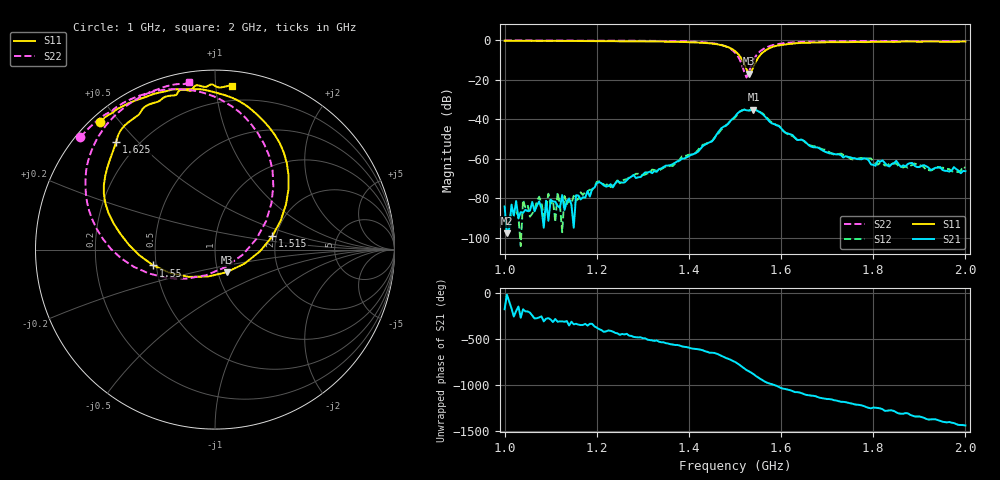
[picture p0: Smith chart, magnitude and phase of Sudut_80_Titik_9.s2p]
# Hz S RI R 50
! CMT, C1220, 16058040, 17.2.0/1
! Date: 14/08/2018 11:55:20
! Data: Format (Calibration Info)
! Freq  S11: Re/Im (F2)  S21: Re/Im (F2)  S12: Re/Im (F2)  S22: Re/Im (F2)
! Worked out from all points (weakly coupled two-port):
!   201 points, 1 GHz to 2 GHz, reference 50 ohm
!   highest |S21| = -35.08 dB at 1.54 GHz (marker M1); lowest = -97.6 dB at 1.005 GHz (marker M2)
!   lowest |S11| = -17.0 dB at 1.53 GHz (marker M3), VSWR 1.33, Z = 55.1 - j14.2 ohm
!   |S11| at or under -10 dB: 1.516 GHz to 1.548 GHz (31.84 MHz wide, 2.08 % of centre)
!   |S22| runs from -18.9 to -0.2 dB; largest |S21 - S12| = 0.00076
!   S11 on the Smith chart (normalised r, x): 1 GHz: 0.03, +0.44; 1.515 GHz: 1.90, +0.32; 1.55 GHz: 0.48, -0.10; 1.625 GHz: 0.12, +0.43; 2 GHz: 0.10, +1.10
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1e9  -0.6433 0.7109  -6.27e-05 -5.04e-07  -2.46e-05 -6.15e-06  -0.7502 0.6268
1.005e9  -0.6362 0.7157  1.24e-05 -4.6e-06  -1.81e-05 1.92e-05  -0.7465 0.6309
1.17e9  -0.4713 0.8198  0.000105 2.03e-05  0.000115 -4.19e-05  -0.6125 0.7519
1.18e9  -0.4547 0.8267  0.000153 1.06e-05  0.000151 1.31e-05  -0.6012 0.7583
1.185e9  -0.4464 0.8301  0.000102 4.41e-05  0.000158 4.81e-05  -0.5953 0.7613
1.205e9  -0.4247 0.8372  0.000213 -0.000147  0.000202 -0.000182  -0.5761 0.7661
1.235e9  -0.3813 0.8521  9.2e-05 -0.000167  7.19e-05 -0.000201  -0.5509 0.7929
1.335e9  -0.214 0.8931  -0.000543 -9.94e-05  -0.000505 -6.58e-05  -0.3959 0.8659
1.45e9  0.1834 0.7958  0.000951 0.00258  0.00113 0.00259  0.0271 0.8378
1.5e9  0.4091 0.3352  0.0102 -0.00569  0.00958 -0.0054  0.3249 0.3532
1.515e9  0.3192 0.074  0.0026 -0.0164  0.00303 -0.0165  0.2306 0.0594
1.525e9  0.1645 -0.0782  -0.0077 -0.015  -0.00776 -0.0152  0.0584 -0.0972
1.53e9  0.0652 -0.126  -0.0107 -0.0126  -0.0108 -0.0126  -0.0492 -0.1428
1.54e9  -0.1466 -0.1518  -0.0167 -0.00575  -0.0165 -0.00571  -0.2714 -0.1577
1.55e9  -0.3435 -0.0885  -0.0152 0.00469  -0.0153 0.00413  -0.4533 -0.0955
1.58e9  -0.6109 0.2586  8.12e-06 0.00788  0.000284 0.00817  -0.7009 0.215
1.625e9  -0.5511 0.5983  0.00387 0.000976  0.00362 0.00106  -0.6983 0.5222
1.67e9  -0.4393 0.7407  0.00158 -0.00116  0.00168 -0.00124  -0.6207 0.6741
1.835e9  -0.1444 0.8856  -0.000621 0.000154  -0.000713 0.000231  -0.3705 0.873
1.85e9  -0.1277 0.8904  -0.000729 0.000504  -0.000613 0.000455  -0.3501 0.882
1.86e9  -0.1201 0.9039  -0.000405 0.000479  -0.000425 0.000481  -0.3361 0.8871
2e9  0.0941 0.9108  0.000487 2.75e-05  0.000586 4.76e-06  -0.1471 0.931
